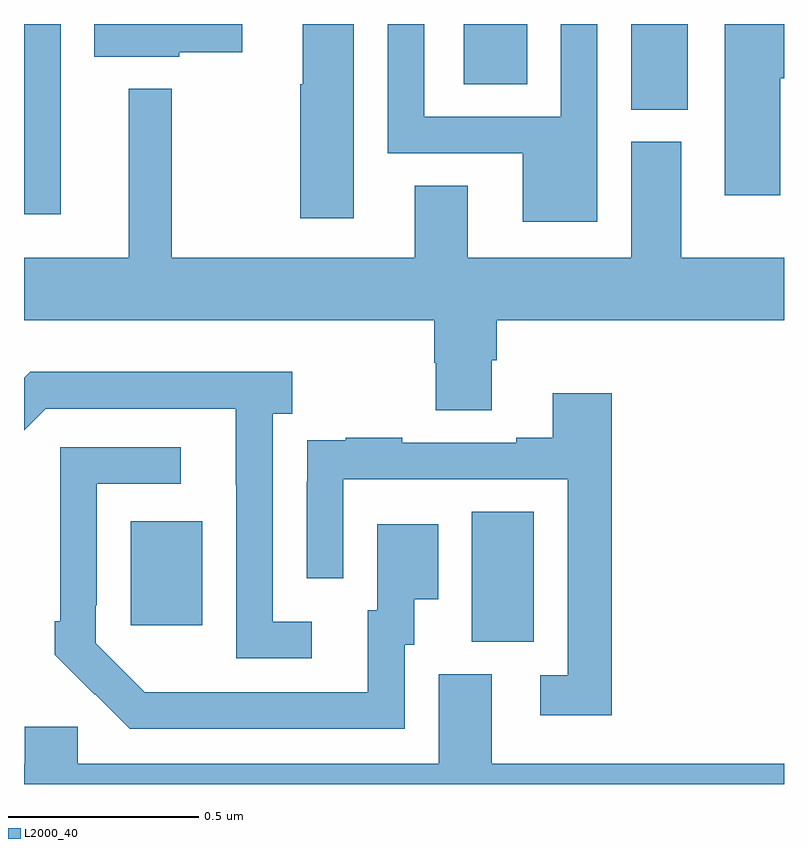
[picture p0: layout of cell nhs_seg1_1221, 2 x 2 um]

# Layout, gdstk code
import gdstk
lib = gdstk.Library(unit=1e-6, precision=1e-09)
def R(c, l, rs):  # rectangles x0, y0, x1, y1
    for r in rs: c.add(gdstk.rectangle(r[:2], r[2:], *l))
def P(c, l, *ps):  # polygons
    for p in ps: c.add(gdstk.Polygon(p, *l))
L2000_40 = (2000, 40)

nhs_seg1_1221 = lib.new_cell('nhs_seg1_1221')
R(nhs_seg1_1221, L2000_40, [(127.178,529.573,127.342,529.916), (126.281,529.617,126.469,529.891), (126,530.699,126.097,531.199), (127.598,530.974,127.747,531.199), (127.157,531.04,127.324,531.199)])
P(nhs_seg1_1221, L2000_40, [(127.509,531.199),(127.413,531.199),(127.413,530.955),(127.053,530.955),(127.053,531.199),(126.957,531.199),(126.957,530.859),(127.313,530.859),(127.313,530.678),(127.509,530.678)],
  [(126.408,531.125),(126.574,531.125),(126.574,531.199),(126.185,531.199),(126.185,531.113),(126.408,531.113)],
  [(127.99,531.056),(128,531.056),(128,531.199),(127.844,531.199),(127.844,530.748),(127.99,530.748)],
  [(126.868,531.199),(126.734,531.199),(126.734,531.041),(126.727,531.041),(126.727,530.688),(126.868,530.688)],
  [(127.231,530.314),(127.244,530.314),(127.244,530.42),(128,530.42),(128,530.584),(127.729,530.584),(127.729,530.889),(127.598,530.889),(127.598,530.584),(127.168,530.584),(127.168,530.774),(127.028,530.774),(127.028,530.584),(126.389,530.584),(126.389,531.028),(126.275,531.028),(126.275,530.584),(126,530.584),(126,530.42),(127.079,530.42),(127.079,530.307),(127.084,530.307),(127.084,530.182),(127.231,530.182)],
  [(126.757,529.626),(126.654,529.626),(126.654,530.174),(126.706,530.174),(126.706,530.284),(126.016,530.284),(126,530.268),(126,530.13),(126.057,530.187),(126.557,530.187),(126.557,529.987),(126.558,529.987),(126.558,529.53),(126.757,529.53)],
  [(127.547,530.227),(127.391,530.227),(127.391,530.11),(127.295,530.11),(127.295,530.097),(126.995,530.097),(126.995,530.11),(126.847,530.11),(126.847,530.103),(126.745,530.103),(126.745,529.994),(126.744,529.994),(126.744,529.74),(126.84,529.74),(126.84,530.001),(127.431,530.001),(127.431,529.485),(127.359,529.485),(127.359,529.38),(127.547,529.38)],
  [(127.002,529.566),(127.027,529.566),(127.027,529.685),(127.09,529.685),(127.09,529.882),(126.929,529.882),(126.929,529.656),(126.905,529.656),(126.905,529.44),(126.421,529.44),(126.421,529.441),(126.318,529.441),(126.189,529.569),(126.189,529.669),(126.192,529.669),(126.192,529.989),(126.412,529.989),(126.412,530.085),(126.096,530.085),(126.096,529.627),(126.081,529.627),(126.081,529.539),(126.186,529.434),(126.187,529.435),(126.278,529.344),(127.002,529.344)],
  [(128,529.252),(127.231,529.252),(127.231,529.488),(127.091,529.488),(127.091,529.252),(126.141,529.252),(126.141,529.35),(126.002,529.35),(126.002,529.252),(126,529.252),(126,529.199),(128,529.199)])

lib.write_gds('nhs_seg1_1221.gds')
